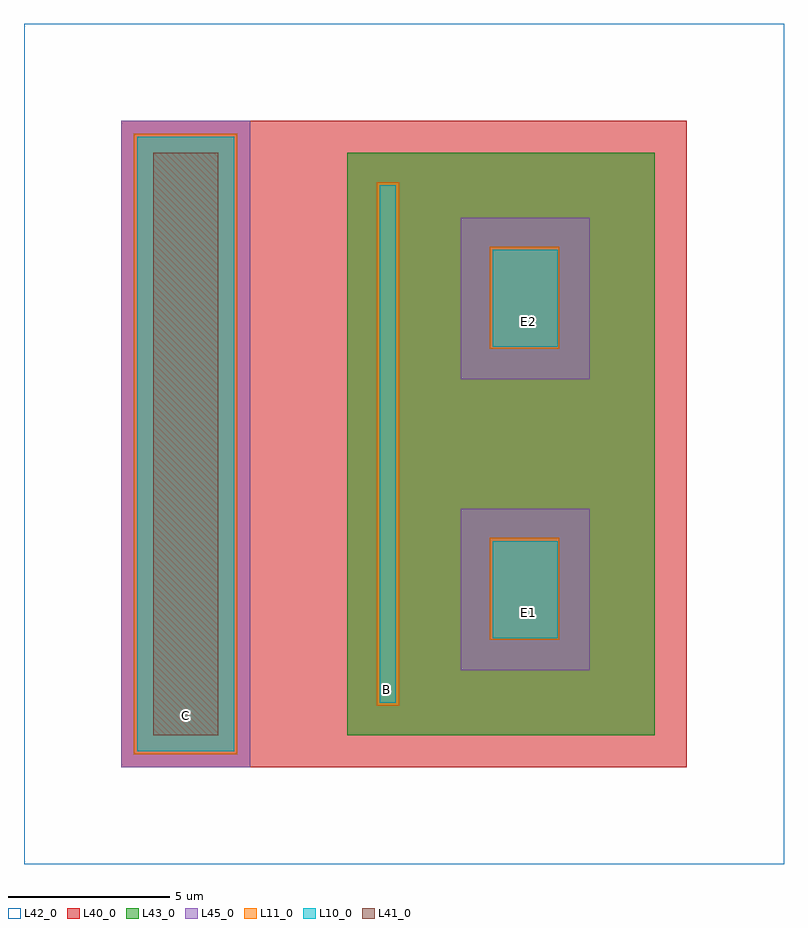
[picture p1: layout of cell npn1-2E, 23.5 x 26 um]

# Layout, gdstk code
import gdstk
lib = gdstk.Library(unit=1e-6, precision=1e-09)
def R(c, l, rs):  # rectangles x0, y0, x1, y1
    for r in rs: c.add(gdstk.rectangle(r[:2], r[2:], *l))
L10_0 = (10, 0)
L11_0 = (11, 0)
L40_0 = (40, 0)
L41_0 = (41, 0)
L42_0 = (42, 0)
L43_0 = (43, 0)
L45_0 = (45, 0)

npn1_2e = lib.new_cell('npn1-2E')
R(npn1_2e, L10_0, [(3.5,3.5,6.5,22.5), (11,5,11.5,21), (14.5,7,16.5,10), (14.5,16,16.5,19)])
R(npn1_2e, L11_0, [(3.4,3.4,6.6,22.6), (10.9,4.9,11.6,21.1), (14.4,6.95,16.55,10.1), (14.4,15.95,16.55,19.1)])
R(npn1_2e, L40_0, [(3,3,20.5,23)])
R(npn1_2e, L41_0, [(4,4,6,22)])
R(npn1_2e, L42_0, [(0,0,23.5,26)])
R(npn1_2e, L43_0, [(10,4,19.5,22)])
R(npn1_2e, L45_0, [(3,3,7,23), (13.5,6,17.5,11), (13.5,15,17.5,20)])
npn1_2e.add(gdstk.Label('E1', (15.6,7.8), layer=11, texttype=0))
npn1_2e.add(gdstk.Label('C', (5,4.6), layer=11, texttype=0))
npn1_2e.add(gdstk.Label('B', (11.2,5.4), layer=11, texttype=0))
npn1_2e.add(gdstk.Label('E2', (15.6,16.8), layer=11, texttype=0))

lib.write_gds('npn1-2E.gds')
